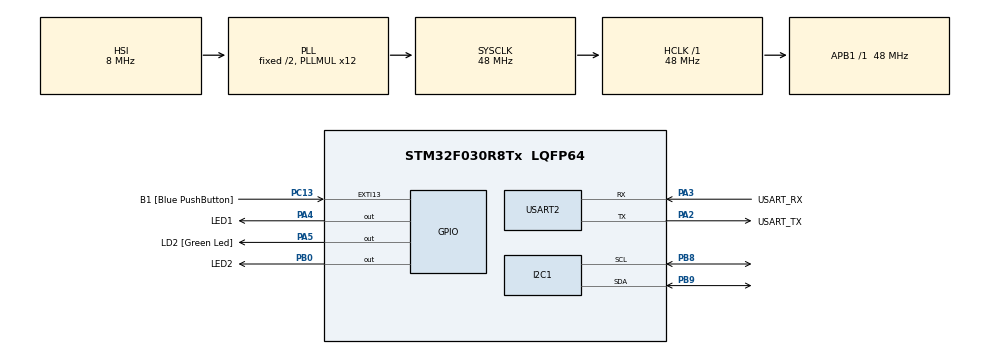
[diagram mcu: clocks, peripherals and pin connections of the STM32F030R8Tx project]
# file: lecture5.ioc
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Dma.Request0=USART2_RX
Dma.USART2_RX.0.Direction=DMA_PERIPH_TO_MEMORY
Dma.USART2_RX.0.Instance=DMA1_Channel5
Dma.USART2_RX.0.MemDataAlignment=DMA_MDATAALIGN_BYTE
Dma.USART2_RX.0.MemInc=DMA_MINC_ENABLE
Dma.USART2_RX.0.Mode=DMA_CIRCULAR
Dma.USART2_RX.0.PeriphDataAlignment=DMA_PDATAALIGN_BYTE
Dma.USART2_RX.0.PeriphInc=DMA_PINC_DISABLE
Dma.USART2_RX.0.Priority=DMA_PRIORITY_LOW
I2C1.Timing=0x00201D2B
Mcu.Family=STM32F0
Mcu.Name=STM32F030R8Tx
Mcu.Package=LQFP64
NVIC.DMA1_Channel4_5_IRQn=true\:0\:0\:false\:false\:true\:false\:true\:true
PA13.GPIO_Label=TMS
PA13.Mode=Serial_Wire
PA13.Signal=SYS_SWDIO
PA14.GPIO_Label=TCK
PA14.Mode=Serial_Wire
PA14.Signal=SYS_SWCLK
PA2.GPIO_Label=USART_TX
PA2.GPIO_Mode=GPIO_MODE_AF_PP
PA2.GPIO_PuPd=GPIO_NOPULL
PA2.GPIO_Speed=GPIO_SPEED_FREQ_LOW
PA2.Mode=Asynchronous
PA2.Signal=USART2_TX
PA3.GPIO_Label=USART_RX
PA3.GPIO_Mode=GPIO_MODE_AF_PP
PA3.GPIO_PuPd=GPIO_NOPULL
PA3.GPIO_Speed=GPIO_SPEED_FREQ_LOW
PA3.Mode=Asynchronous
PA3.Signal=USART2_RX
PA4.GPIO_Label=LED1
PA4.Signal=GPIO_Output
PA5.GPIO_Label=LD2 [Green Led]
PA5.GPIO_Mode=GPIO_MODE_OUTPUT_PP
PA5.GPIO_PuPd=GPIO_NOPULL
PA5.GPIO_Speed=GPIO_SPEED_FREQ_LOW
PA5.Signal=GPIO_Output
PB0.GPIO_Label=LED2
PB0.Signal=GPIO_Output
PB8.Mode=I2C
PB8.Signal=I2C1_SCL
PB9.Mode=I2C
PB9.Signal=I2C1_SDA
PC13.GPIO_Label=B1 [Blue PushButton]
PC13.GPIO_ModeDefaultEXTI=GPIO_MODE_IT_FALLING
PC13.Signal=GPXTI13
PC14-OSC32_IN.Mode=LSE-External-Oscillator
PC14-OSC32_IN.Signal=RCC_OSC32_IN
PC15-OSC32_OUT.Mode=LSE-External-Oscillator
PC15-OSC32_OUT.Signal=RCC_OSC32_OUT
PF0-OSC_IN.Mode=HSE-External-Clock-Source
PF0-OSC_IN.Signal=RCC_OSC_IN
PF1-OSC_OUT.Signal=RCC_OSC_OUT
ProjectManager.HeapSize=0x200
ProjectManager.StackSize=0x400
ProjectManager.TargetToolchain=STM32CubeIDE
RCC.AHBFreq_Value=48000000
RCC.APB1Freq_Value=48000000
RCC.APB1TimFreq_Value=48000000
RCC.HCLKFreq_Value=48000000
RCC.PLLMUL=RCC_PLL_MUL12
RCC.SYSCLKFreq_VALUE=48000000
RCC.SYSCLKSource=RCC_SYSCLKSOURCE_PLLCLK
USART2.VirtualMode-Asynchronous=VM_ASYNC
board=NUCLEO-F030R8

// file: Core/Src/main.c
/* USER CODE BEGIN Header */
/**
  ******************************************************************************
  * @file           : main.c
  * @brief          : Main program body
  ******************************************************************************
  * @attention
  *
  * Copyright (c) 2024 STMicroelectronics.
  * All rights reserved.
  *
  * This software is licensed under terms that can be found in the LICENSE file
  * in the root directory of this software component.
  * If no LICENSE file comes with this software, it is provided AS-IS.
  *
  ******************************************************************************
  */
/* USER CODE END Header */
#include "main.h"

/* USER CODE BEGIN Includes */
#include <stdio.h>
#include <string.h>
#include <stdlib.h>
/* USER CODE END Includes */

/* USER CODE BEGIN PD */
#define RX_BUF_LEN	64
#define CMD_BUF_LEN (RX_BUF_LEN)
#define uart_rx_write_ptr (RX_BUF_LEN - hdma_usart2_rx.Instance->CNDTR)
#define EEPROM_ADDR	0xA0
/* USER CODE END PD */

I2C_HandleTypeDef hi2c1;

UART_HandleTypeDef huart2;
DMA_HandleTypeDef hdma_usart2_rx;

/* USER CODE BEGIN PV */
static uint8_t uart_rx_buf[RX_BUF_LEN];
static volatile uint16_t uart_rx_read_ptr = 0;
/* USER CODE END PV */

void SystemClock_Config(void);
static void MX_GPIO_Init(void);
static void MX_DMA_Init(void);
static void MX_USART2_UART_Init(void);
static void MX_I2C1_Init(void);

/* USER CODE BEGIN 0 */
int _write(int file, char const *buf, int n) {
	HAL_UART_Transmit(&huart2, (uint8_t *)buf, n, HAL_MAX_DELAY);
	return n;
}

static void uart_process_command(const char* data) {

	char *token;
	token = strtok(data, " ");
	if (strcasecmp(token, "HELLO") == 0) {
		printf("Communication OK\n");
	}
	else if (strcasecmp(token, "LED1") == 0) {
		token = strtok(NULL, " ");
		if (strcasecmp(token, "ON") == 0) {
			HAL_GPIO_WritePin(LED1_GPIO_Port, LED1_Pin, 1);
		} else if (strcasecmp(token, "OFF") == 0) {
			HAL_GPIO_WritePin(LED1_GPIO_Port, LED1_Pin, 0);
		}
		printf("OK\n");
	}
	else if (strcasecmp(token, "LED2") == 0) {
			token = strtok(NULL, " ");
			if (strcasecmp(token, "ON") == 0) {
				HAL_GPIO_WritePin(LED2_GPIO_Port, LED2_Pin, 1);
			} else if (strcasecmp(token, "OFF") == 0) {
				HAL_GPIO_WritePin(LED2_GPIO_Port, LED2_Pin, 0);
			}
			printf("OK\n");
		}
	else if (strcasecmp(token, "STATUS") == 0) {
		    uint8_t led1_status = HAL_GPIO_ReadPin(LED1_GPIO_Port, LED1_Pin);
		    uint8_t led2_status = HAL_GPIO_ReadPin(LED2_GPIO_Port, LED2_Pin);
			printf("LED1 status: %d\nLED2 status: %d\n", led1_status, led2_status);
		}

	else if (strcasecmp(token, "READ") == 0) {
		token = strtok(NULL, " ");
		uint8_t value;
		uint16_t addr = atoi(token);
		HAL_I2C_Mem_Read(&hi2c1, EEPROM_ADDR, addr, I2C_MEMADD_SIZE_16BIT, &value, 1, 1000);
		printf("Read from addr 0x%02X: 0x%02X\n", addr, value);
	}

	else if (strcasecmp(token, "WRITE") == 0) {
			token = strtok(NULL, " ");
			uint16_t addr = atoi(token);
			token = strtok(NULL, " ");
			uint8_t value = atoi(token);
			while (HAL_I2C_IsDeviceReady(&hi2c1, EEPROM_ADDR, 300, 1000) == HAL_TIMEOUT) {}
			HAL_I2C_Mem_Write(&hi2c1, EEPROM_ADDR, addr, I2C_MEMADD_SIZE_16BIT, &value, 1, 1000);
			printf("Write to addr 0x%02X: 0x%02X\n", addr, value);
			printf("OK\n");
		}

	else if (strcasecmp(token, "DUMP") == 0) {
		uint8_t i;
		uint8_t value;
		for (i = 0; i <= 15; i++) {
			HAL_I2C_Mem_Read(&hi2c1, EEPROM_ADDR, i, I2C_MEMADD_SIZE_16BIT, &value, 1, 1000);
			printf("%02X ", value);
			if (i == 7) printf("\n");
		}
		printf("\n");
	}

	else {
		printf("Ahoj, dostal jsem data: %s\n", data);
	}
}

static void uart_byte_available(uint8_t c) {
	static uint16_t cnt;
	static char data[CMD_BUF_LEN];

	if (cnt < CMD_BUF_LEN && c >= 32 && c <= 126) data[cnt++] = c;
	if ((c == '\n' || c == '\r') && cnt > 0) {
		data[cnt] = '\0';
		cnt = 0;

		uart_process_command(data);
	}
}
/* USER CODE END 0 */

int main(void)
{

  /* MCU Configuration--------------------------------------------------------*/

  /* Reset of all peripherals, Initializes the Flash interface and the Systick. */
  HAL_Init();

  /* Configure the system clock */
  SystemClock_Config();

  /* Initialize all configured peripherals */
  MX_GPIO_Init();
  MX_DMA_Init();
  MX_USART2_UART_Init();
  MX_I2C1_Init();
  /* USER CODE BEGIN 2 */

  HAL_UART_Receive_DMA(&huart2, uart_rx_buf, RX_BUF_LEN);
  /* USER CODE END 2 */

  /* Infinite loop */
  /* USER CODE BEGIN WHILE */
  while (1)
  {
	  /*uint8_t c;
	  HAL_UART_Receive(&huart2, &c, sizeof(c), HAL_MAX_DELAY);
	  HAL_UART_Transmit(&huart2, &c, sizeof(c), HAL_MAX_DELAY);*/

	  while (uart_rx_read_ptr != uart_rx_write_ptr) {
		  uint8_t b = uart_rx_buf[uart_rx_read_ptr];

		  if (++uart_rx_read_ptr >= RX_BUF_LEN) uart_rx_read_ptr = 0;

		  uart_byte_available(b);
	  }
    /* USER CODE END WHILE */

  }
}

void SystemClock_Config(void)
{
  RCC_OscInitTypeDef RCC_OscInitStruct = {0};
  RCC_ClkInitTypeDef RCC_ClkInitStruct = {0};
  RCC_PeriphCLKInitTypeDef PeriphClkInit = {0};

  /** Initializes the RCC Oscillators according to the specified parameters
  * in the RCC_OscInitTypeDef structure.
  */
  RCC_OscInitStruct.OscillatorType = RCC_OSCILLATORTYPE_HSI;
  RCC_OscInitStruct.HSIState = RCC_HSI_ON;
  RCC_OscInitStruct.HSICalibrationValue = RCC_HSICALIBRATION_DEFAULT;
  RCC_OscInitStruct.PLL.PLLState = RCC_PLL_ON;
  RCC_OscInitStruct.PLL.PLLSource = RCC_PLLSOURCE_HSI;
  RCC_OscInitStruct.PLL.PLLMUL = RCC_PLL_MUL12;
  RCC_OscInitStruct.PLL.PREDIV = RCC_PREDIV_DIV1;
  if (HAL_RCC_OscConfig(&RCC_OscInitStruct) != HAL_OK)
  {
    Error_Handler();
  }

  /** Initializes the CPU, AHB and APB buses clocks
  */
  RCC_ClkInitStruct.ClockType = RCC_CLOCKTYPE_HCLK|RCC_CLOCKTYPE_SYSCLK
                              |RCC_CLOCKTYPE_PCLK1;
  RCC_ClkInitStruct.SYSCLKSource = RCC_SYSCLKSOURCE_PLLCLK;
  RCC_ClkInitStruct.AHBCLKDivider = RCC_SYSCLK_DIV1;
  RCC_ClkInitStruct.APB1CLKDivider = RCC_HCLK_DIV1;

  if (HAL_RCC_ClockConfig(&RCC_ClkInitStruct, FLASH_LATENCY_1) != HAL_OK)
  {
    Error_Handler();
  }
  PeriphClkInit.PeriphClockSelection = RCC_PERIPHCLK_I2C1;
  PeriphClkInit.I2c1ClockSelection = RCC_I2C1CLKSOURCE_HSI;
  if (HAL_RCCEx_PeriphCLKConfig(&PeriphClkInit) != HAL_OK)
  {
    Error_Handler();
  }
}

static void MX_I2C1_Init(void)
{

  hi2c1.Instance = I2C1;
  hi2c1.Init.Timing = 0x00201D2B;
  hi2c1.Init.OwnAddress1 = 0;
  hi2c1.Init.AddressingMode = I2C_ADDRESSINGMODE_7BIT;
  hi2c1.Init.DualAddressMode = I2C_DUALADDRESS_DISABLE;
  hi2c1.Init.OwnAddress2 = 0;
  hi2c1.Init.OwnAddress2Masks = I2C_OA2_NOMASK;
  hi2c1.Init.GeneralCallMode = I2C_GENERALCALL_DISABLE;
  hi2c1.Init.NoStretchMode = I2C_NOSTRETCH_DISABLE;
  if (HAL_I2C_Init(&hi2c1) != HAL_OK)
  {
    Error_Handler();
  }

  /** Configure Analogue filter
  */
  if (HAL_I2CEx_ConfigAnalogFilter(&hi2c1, I2C_ANALOGFILTER_ENABLE) != HAL_OK)
  {
    Error_Handler();
  }

  /** Configure Digital filter
  */
  if (HAL_I2CEx_ConfigDigitalFilter(&hi2c1, 0) != HAL_OK)
  {
    Error_Handler();
  }

}

static void MX_USART2_UART_Init(void)
{

  huart2.Instance = USART2;
  huart2.Init.BaudRate = 38400;
  huart2.Init.WordLength = UART_WORDLENGTH_8B;
  huart2.Init.StopBits = UART_STOPBITS_1;
  huart2.Init.Parity = UART_PARITY_NONE;
  huart2.Init.Mode = UART_MODE_TX_RX;
  huart2.Init.HwFlowCtl = UART_HWCONTROL_NONE;
  huart2.Init.OverSampling = UART_OVERSAMPLING_16;
  huart2.Init.OneBitSampling = UART_ONE_BIT_SAMPLE_DISABLE;
  huart2.AdvancedInit.AdvFeatureInit = UART_ADVFEATURE_NO_INIT;
  if (HAL_UART_Init(&huart2) != HAL_OK)
  {
    Error_Handler();
  }

}

static void MX_DMA_Init(void)
{

  /* DMA controller clock enable */
  __HAL_RCC_DMA1_CLK_ENABLE();

  /* DMA interrupt init */
  /* DMA1_Channel4_5_IRQn interrupt configuration */
  HAL_NVIC_SetPriority(DMA1_Channel4_5_IRQn, 0, 0);
  HAL_NVIC_EnableIRQ(DMA1_Channel4_5_IRQn);

}

static void MX_GPIO_Init(void)
{
  GPIO_InitTypeDef GPIO_InitStruct = {0};

  /* GPIO Ports Clock Enable */
  __HAL_RCC_GPIOC_CLK_ENABLE();
  __HAL_RCC_GPIOF_CLK_ENABLE();
  __HAL_RCC_GPIOA_CLK_ENABLE();
  __HAL_RCC_GPIOB_CLK_ENABLE();

  /*Configure GPIO pin Output Level */
  HAL_GPIO_WritePin(GPIOA, LED1_Pin|LD2_Pin, GPIO_PIN_RESET);

  /*Configure GPIO pin Output Level */
  HAL_GPIO_WritePin(LED2_GPIO_Port, LED2_Pin, GPIO_PIN_RESET);

  /*Configure GPIO pin : B1_Pin */
  GPIO_InitStruct.Pin = B1_Pin;
  GPIO_InitStruct.Mode = GPIO_MODE_IT_FALLING;
  GPIO_InitStruct.Pull = GPIO_NOPULL;
  HAL_GPIO_Init(B1_GPIO_Port, &GPIO_InitStruct);

  /*Configure GPIO pins : LED1_Pin LD2_Pin */
  GPIO_InitStruct.Pin = LED1_Pin|LD2_Pin;
  GPIO_InitStruct.Mode = GPIO_MODE_OUTPUT_PP;
  GPIO_InitStruct.Pull = GPIO_NOPULL;
  GPIO_InitStruct.Speed = GPIO_SPEED_FREQ_LOW;
  HAL_GPIO_Init(GPIOA, &GPIO_InitStruct);

  /*Configure GPIO pin : LED2_Pin */
  GPIO_InitStruct.Pin = LED2_Pin;
  GPIO_InitStruct.Mode = GPIO_MODE_OUTPUT_PP;
  GPIO_InitStruct.Pull = GPIO_NOPULL;
  GPIO_InitStruct.Speed = GPIO_SPEED_FREQ_LOW;
  HAL_GPIO_Init(LED2_GPIO_Port, &GPIO_InitStruct);

}

void Error_Handler(void)
{
  __disable_irq();
  while (1)
  {
  }
}
